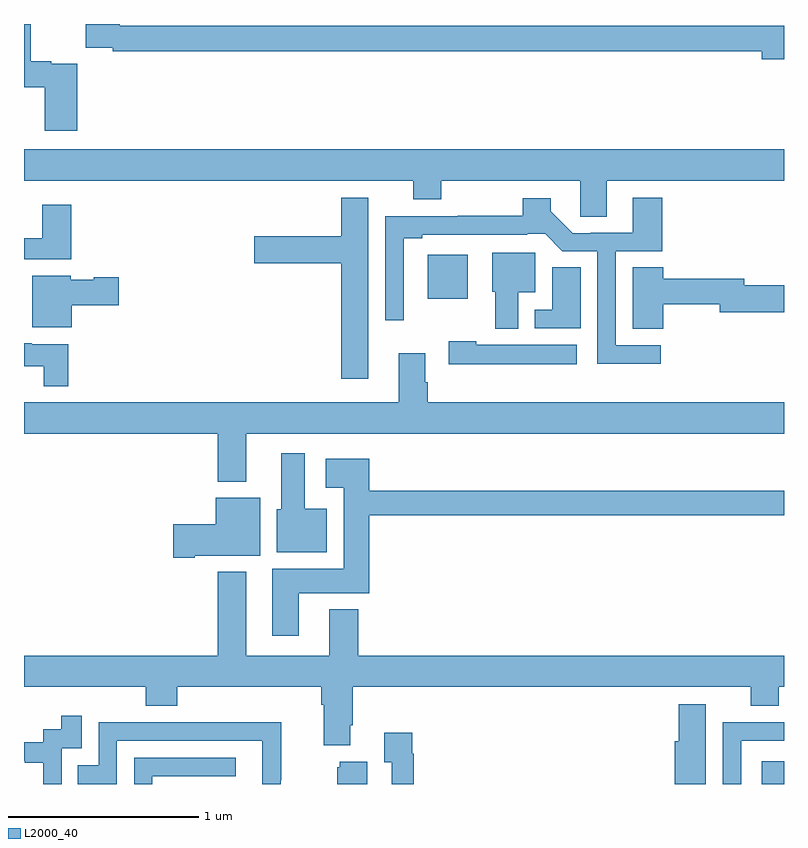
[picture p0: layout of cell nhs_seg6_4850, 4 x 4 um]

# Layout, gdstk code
import gdstk
lib = gdstk.Library(unit=1e-6, precision=1e-09)
def R(c, l, rs):  # rectangles x0, y0, x1, y1
    for r in rs: c.add(gdstk.rectangle(r[:2], r[2:], *l))
def P(c, l, *ps):  # polygons
    for p in ps: c.add(gdstk.Polygon(p, *l))
L2000_40 = (2000, 40)

nhs_seg6_4850 = lib.new_cell('nhs_seg6_4850')
R(nhs_seg6_4850, L2000_40, [(402.884,937.5,403,937.621), (401.126,940.055,401.335,940.285)])
P(nhs_seg6_4850, L2000_40, [(403,941.492),(399.503,941.492),(399.503,941.5),(399.325,941.5),(399.325,941.376),(399.466,941.376),(399.466,941.356),(402.884,941.356),(402.884,941.314),(403,941.314)],
  [(399.281,941.29),(399.144,941.29),(399.144,941.303),(399.036,941.303),(399.036,941.5),(399,941.5),(399,941.168),(399.11,941.168),(399.11,940.938),(399.281,940.938)],
  [(402.067,940.676),(403,940.676),(403,940.84),(399,940.84),(399,940.676),(401.048,940.676),(401.048,940.577),(401.196,940.577),(401.196,940.676),(401.928,940.676),(401.928,940.486),(402.067,940.486)],
  [(400.813,940.585),(400.67,940.585),(400.67,940.383),(400.212,940.383),(400.212,940.241),(400.67,940.241),(400.67,939.633),(400.813,939.633)],
  [(402.352,939.81),(402.114,939.81),(402.114,940.305),(402.359,940.305),(402.359,940.585),(402.203,940.585),(402.203,940.401),(401.983,940.401),(401.983,940.398),(401.889,940.398),(401.773,940.514),(401.773,940.582),(401.626,940.582),(401.626,940.49),(401.284,940.49),(401.284,940.488),(400.902,940.488),(400.902,939.942),(400.998,939.942),(400.998,940.372),(401.095,940.372),(401.095,940.392),(401.648,940.392),(401.648,940.395),(401.744,940.395),(401.834,940.305),(402.018,940.305),(402.018,939.713),(402.352,939.713)],
  [(399.248,940.549),(399.095,940.549),(399.095,940.372),(399,940.372),(399,940.262),(399.248,940.262)],
  [(401.602,940.088),(401.692,940.088),(401.692,940.297),(401.465,940.297),(401.465,940.092),(401.48,940.092),(401.48,939.896),(401.602,939.896)],
  [(401.929,940.22),(401.78,940.22),(401.78,939.996),(401.687,939.996),(401.687,939.9),(401.929,939.9)],
  [(402.364,940.024),(402.662,940.024),(402.662,939.982),(403,939.982),(403,940.124),(402.79,940.124),(402.79,940.16),(402.364,940.16),(402.364,940.22),(402.203,940.22),(402.203,939.895),(402.364,939.895)],
  [(399.25,940.019),(399.499,940.019),(399.499,940.166),(399.366,940.166),(399.366,940.153),(399.246,940.153),(399.246,940.174),(399.044,940.174),(399.044,939.905),(399.25,939.905)],
  [(401.908,939.811),(401.379,939.811),(401.379,939.829),(401.235,939.829),(401.235,939.71),(401.908,939.71)],
  [(399.233,939.814),(399.042,939.814),(399.042,939.82),(399,939.82),(399,939.698),(399.105,939.698),(399.105,939.593),(399.233,939.593)],
  [(400.171,939.344),(403,939.344),(403,939.508),(401.126,939.508),(401.126,939.614),(401.113,939.614),(401.113,939.766),(400.973,939.766),(400.973,939.508),(399,939.508),(399,939.344),(400.019,939.344),(400.019,939.092),(400.171,939.092)],
  [(400.594,938.95),(400.477,938.95),(400.477,939.241),(400.355,939.241),(400.355,938.946),(400.331,938.946),(400.331,938.72),(400.594,938.72)],
  [(400.447,938.504),(400.817,938.504),(400.817,938.914),(403,938.914),(403,939.043),(400.817,939.043),(400.817,939.211),(400.587,939.211),(400.587,939.059),(400.682,939.059),(400.682,938.632),(400.307,938.632),(400.307,938.28),(400.447,938.28)],
  [(399.898,938.702),(400.243,938.702),(400.243,939.007),(400.01,939.007),(400.01,938.868),(399.786,938.868),(399.786,938.69),(399.898,938.69)],
  [(400.717,937.81),(400.73,937.81),(400.73,938.012),(402.824,938.012),(402.824,937.913),(402.972,937.913),(402.972,938.012),(403,938.012),(403,938.176),(400.76,938.176),(400.76,938.419),(400.607,938.419),(400.607,938.176),(400.171,938.176),(400.171,938.617),(400.019,938.617),(400.019,938.176),(399,938.176),(399,938.012),(399.641,938.012),(399.641,937.913),(399.806,937.913),(399.806,938.012),(400.565,938.012),(400.565,937.916),(400.577,937.916),(400.577,937.703),(400.717,937.703)],
  [(402.589,937.921),(402.446,937.921),(402.446,937.725),(402.425,937.725),(402.425,937.5),(402.589,937.5)],
  [(399.198,937.689),(399.303,937.689),(399.303,937.858),(399.195,937.858),(399.195,937.788),(399.102,937.788),(399.102,937.719),(399,937.719),(399,937.623),(399.005,937.623),(399.005,937.611),(399.101,937.611),(399.101,937.5),(399.198,937.5)],
  [(399.489,937.728),(400.253,937.728),(400.253,937.5),(400.35,937.5),(400.35,937.519),(400.353,937.519),(400.353,937.826),(399.889,937.826),(399.889,937.824),(399.393,937.824),(399.393,937.599),(399.283,937.599),(399.283,937.5),(399.489,937.5)],
  [(402.774,937.727),(402.775,937.727),(402.775,937.728),(403,937.728),(403,937.824),(402.678,937.824),(402.678,937.5),(402.774,937.5)],
  [(401.051,937.658),(401.044,937.658),(401.044,937.771),(400.895,937.771),(400.895,937.615),(400.935,937.615),(400.935,937.5),(401.051,937.5)],
  [(399.675,937.542),(400.114,937.542),(400.114,937.638),(399.579,937.638),(399.579,937.5),(399.675,937.5)],
  [(400.807,937.618),(400.661,937.618),(400.661,937.587),(400.649,937.587),(400.649,937.5),(400.807,937.5)])

lib.write_gds('nhs_seg6_4850.gds')
